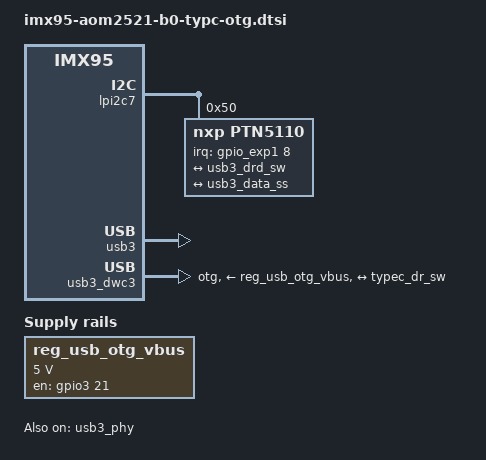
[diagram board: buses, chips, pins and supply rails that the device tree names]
 / {
	reg_usb_otg_vbus: regulator-usb-vbus {
		compatible = "regulator-fixed";
		regulator-name = "usb_otg_vbus";
		regulator-min-microvolt = <5000000>;
		regulator-max-microvolt = <5000000>;
		gpio = <&gpio3 21 GPIO_ACTIVE_HIGH>;
		enable-active-high;
		regulator-always-on;
	};
};

&lpi2c7 {
       ptn5110: tcpc@50 {
               compatible = "nxp,ptn5110";
               reg = <0x50>;
               interrupts-extended = <&gpio_exp1 8 IRQ_TYPE_EDGE_FALLING>; /* USB_C_INT */

               port {
                       typec_dr_sw: endpoint {
                               remote-endpoint = <&usb3_drd_sw>;
                       };
               };

               typec_con: connector {
                       compatible = "usb-c-connector";
                       label = "USB-C";
                       power-role = "dual";
                       data-role = "dual";
                       try-power-role = "sink";
                       source-pdos = <PDO_FIXED(5000, 3000, PDO_FIXED_USB_COMM)>;
                       sink-pdos = <PDO_FIXED(5000, 0, PDO_FIXED_USB_COMM)>;
                       op-sink-microwatt = <0>;
                       self-powered;

                       ports {
                               #address-cells = <1>;
                               #size-cells = <0>;

                               port@1 {
                                       reg = <1>;
                                       typec_con_ss: endpoint {
                                               remote-endpoint = <&usb3_data_ss>;
                                       };
                               };
                       };
               };
       };
};

&usb3 {
	status = "okay";
};

&usb3_phy {
	fsl,phy-pcs-tx-deemph-3p5db-attenuation-db = <17>;
	fsl,phy-pcs-tx-swing-full-percent = <100>;
	fsl,phy-tx-preemp-amp-tune-microamp = <600>;
	fsl,phy-tx-vboost-level-microvolt = <1156>;
	status = "okay";

	port {
		usb3_data_ss: endpoint {
			remote-endpoint = <&typec_con_ss>;
		};
	};
};

&usb3_dwc3 {
	dr_mode = "otg";
	vbus-supply = <&reg_usb_otg_vbus>;
	hnp-disable;
	srp-disable;
	adp-disable;
	usb-role-switch;
	role-switch-default-mode = "none";
	snps,dis-u1-entry-quirk;
	snps,dis-u2-entry-quirk;
	status = "okay";

	port {
		usb3_drd_sw: endpoint {
			remote-endpoint = <&typec_dr_sw>;
		};
	};
};

&scmi_iomuxc {
       pinctrl_usba_en: usbaengrp {
                fsl,pins = <
                       IMX95_PAD_SD3_CMD__GPIO3_IO_BIT21               0x31e
                >;
        };
 };
